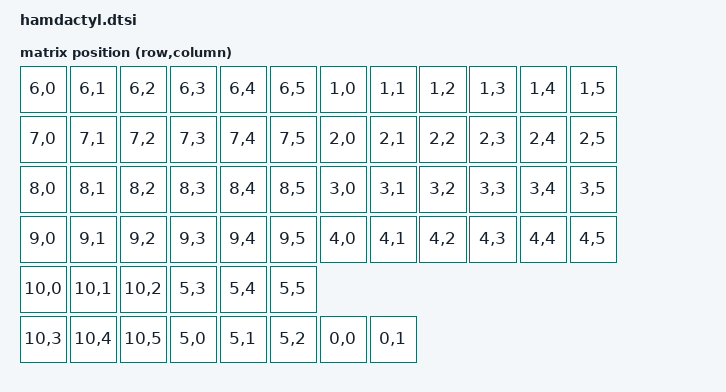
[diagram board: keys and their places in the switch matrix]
#include "hamdactyl-layouts.dtsi"
#include <dt-bindings/zmk/matrix_transform.h>

/ {
    matrix_transform0: matrix_transform0 {
        compatible = "zmk,matrix-transform";
        columns = <6>;
        rows = <11>;
        map = <
            RC(6,0) RC(6,1) RC(6,2) RC(6,3) RC(6,4) RC(6,5) RC(1,0) RC(1,1) RC(1,2) RC(1,3) RC(1,4) RC(1,5)
            RC(7,0) RC(7,1) RC(7,2) RC(7,3) RC(7,4) RC(7,5) RC(2,0) RC(2,1) RC(2,2) RC(2,3) RC(2,4) RC(2,5)
            RC(8,0) RC(8,1) RC(8,2) RC(8,3) RC(8,4) RC(8,5) RC(3,0) RC(3,1) RC(3,2) RC(3,3) RC(3,4) RC(3,5)
            RC(9,0) RC(9,1) RC(9,2) RC(9,3) RC(9,4) RC(9,5) RC(4,0) RC(4,1) RC(4,2) RC(4,3) RC(4,4) RC(4,5)
            RC(10,0) RC(10,1) RC(10,2) RC(5,3) RC(5,4) RC(5,5)
            RC(10,3) RC(10,4) RC(10,5) RC(5,0) RC(5,1) RC(5,2) RC(0,0) RC(0,1)
        >;
    };
};

&physical_layout_hamdactyl {
    transform = <&matrix_transform0>;
};

// Encoders for all parts of the keyboard.
// If the encoder(s) are not behaving as expected,
// update steps and triggers-per-rotation to match your hardware.
// All pin assignments are done in the part overlays.

/ {
    encoder_dongle0: encoder_dongle0 {
        compatible = "alps,ec11";
        steps = <80>;
        status = "disabled";
    };
    encoder_dongle1: encoder_dongle1 {
        compatible = "alps,ec11";
        steps = <80>;
        status = "disabled";
    };

    sensors: sensors {
        compatible = "zmk,keymap-sensors";
        sensors = <&encoder_dongle0 &encoder_dongle1>;
        triggers-per-rotation = <20>;
    };
};

